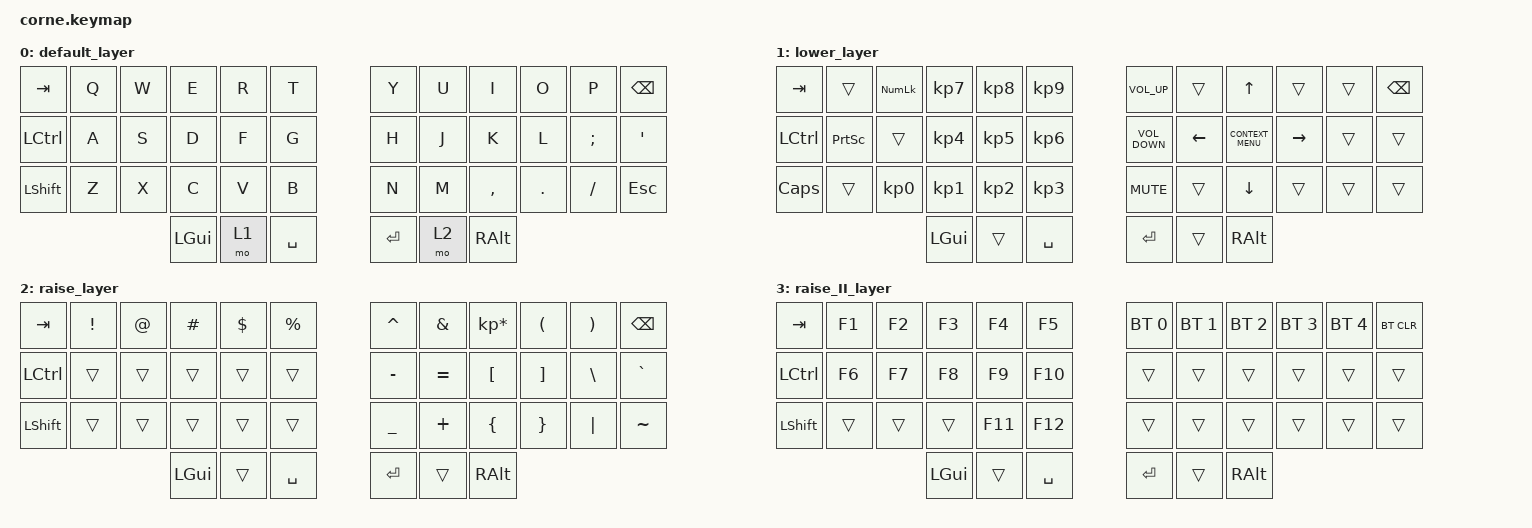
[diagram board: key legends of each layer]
/*
 * Copyright (c) 2020 The ZMK Contributors
 *
 * SPDX-License-Identifier: MIT
 */

#include <behaviors.dtsi>
#include <dt-bindings/zmk/bt.h>
#include <dt-bindings/zmk/keys.h>

/ {
    keymap {
        compatible = "zmk,keymap";

        default_layer {
            // -----------------------------------------------------------------------------------------
            // |  TAB |  Q  |  W  |  E  |  R  |  T  |   |  Y  |  U   |  I  |  O  |  P  | BKSP |
            // | CTRL |  A  |  S  |  D  |  F  |  G  |   |  H  |  J   |  K  |  L  |  ;  |  '   |
            // | SHFT |  Z  |  X  |  C  |  V  |  B  |   |  N  |  M   |  ,  |  .  |  /  | ESC  |
            //                    | GUI | LWR | SPC |   | ENT | RSE  | ALT |

            bindings = <
&kp TAB    &kp Q  &kp W  &kp E     &kp R  &kp T        &kp Y    &kp U  &kp I      &kp O    &kp P     &kp BSPC
&kp LCTRL  &kp A  &kp S  &kp D     &kp F  &kp G        &kp H    &kp J  &kp K      &kp L    &kp SEMI  &kp SQT
&kp LSHFT  &kp Z  &kp X  &kp C     &kp V  &kp B        &kp N    &kp M  &kp COMMA  &kp DOT  &kp FSLH  &kp ESC
                         &kp LGUI  &mo 1  &kp SPACE    &kp RET  &mo 2  &kp RALT
            >;
        };

        lower_layer {
            // -----------------------------------------------------------------------------------------
            // |  TAB |     |     |  7  |  8  |  9  |   |     |     |  UP |     |     | BKSP |
            // | BTCLR|     |     |  4  |  5  |  6  |   |     | LFT | MENU| RGT |     |      |
            // | SHFT |     |  0  |  1  |  2  |  3  |   |     |     | DWN |     |     |      |
            //                    | GUI |     | SPC |   | ENT |     | ALT |

            bindings = <
&kp TAB       &trans           &kp KP_NUMLOCK  &kp KP_N7  &kp KP_N8  &kp KP_N9    &kp K_VOL_UP       &trans    &kp UP              &trans     &trans  &kp BSPC
&kp LCTRL     &kp PRINTSCREEN  &trans          &kp KP_N4  &kp KP_N5  &kp KP_N6    &kp K_VOLUME_DOWN  &kp LEFT  &kp K_CONTEXT_MENU  &kp RIGHT  &trans  &trans
&kp CAPSLOCK  &trans           &kp KP_N0       &kp KP_N1  &kp KP_N2  &kp KP_N3    &kp K_MUTE         &trans    &kp DOWN            &trans     &trans  &trans
                                               &kp LGUI   &trans     &kp SPACE    &kp RET            &trans    &kp RALT
            >;
        };

        raise_layer {
            // -----------------------------------------------------------------------------------------
            // |  TAB |  !  |  @  |  #  |  $  |  %  |   |  ^  |  &  |  *  |  (  |  )  | BKSP |
            // | CTRL |     |     |     |     |     |   |  -  |  =  |  [  |  ]  |  \  |  `   |
            // | SHFT |     |     |     |     |     |   |  _  |  +  |  {  |  }  | "|" |  ~   |
            //                    | GUI |     | SPC |   | ENT |     | ALT |

            bindings = <
&kp TAB    &kp EXCL  &kp AT  &kp HASH  &kp DLLR  &kp PRCNT    &kp CARET  &kp AMPS   &kp KP_MULTIPLY  &kp LPAR  &kp RPAR  &kp BSPC
&kp LCTRL  &trans    &trans  &trans    &trans    &trans       &kp MINUS  &kp EQUAL  &kp LBKT         &kp RBKT  &kp BSLH  &kp GRAVE
&kp LSHFT  &trans    &trans  &trans    &trans    &trans       &kp UNDER  &kp PLUS   &kp LBRC         &kp RBRC  &kp PIPE  &kp TILDE
                             &kp LGUI  &trans    &kp SPACE    &kp RET    &trans     &kp RALT
            >;
        };

        raise_II_layer {
            // -----------------------------------------------------------------------------------------
            // |  TAB | F1  |  F2 |  F3 | F4  | F5  |   | BT1 | BT2 | BT3 | BT4 | BT5 | BTCLR |
            // | CTRL | F6  |  F7 |  F8 | F9  | F10 |   |     |     |     |     |     |      |
            // | SHFT |     |     |     | F11 | F12 |   |     |     |     |     |     |      |
            //                    | GUI |     | SPC |   | ENT |     | ALT |

            bindings = <
&kp TAB    &kp F1  &kp F2  &kp F3    &kp F4   &kp F5       &bt BT_SEL 0  &bt BT_SEL 1  &bt BT_SEL 2  &bt BT_SEL 3  &bt BT_SEL 4  &bt BT_CLR
&kp LCTRL  &kp F6  &kp F7  &kp F8    &kp F9   &kp F10      &trans        &trans        &trans        &trans        &trans        &trans
&kp LSHFT  &trans  &trans  &trans    &kp F11  &kp F12      &trans        &trans        &trans        &trans        &trans        &trans
                           &kp LGUI  &trans   &kp SPACE    &kp RET       &trans        &kp RALT
            >;
        };
    };

    conditional_layers {
        compatible = "zmk,conditional-layers";

        TRI {
            if-layers = <1 2>;
            then-layer = <3>;
        };
    };
};
